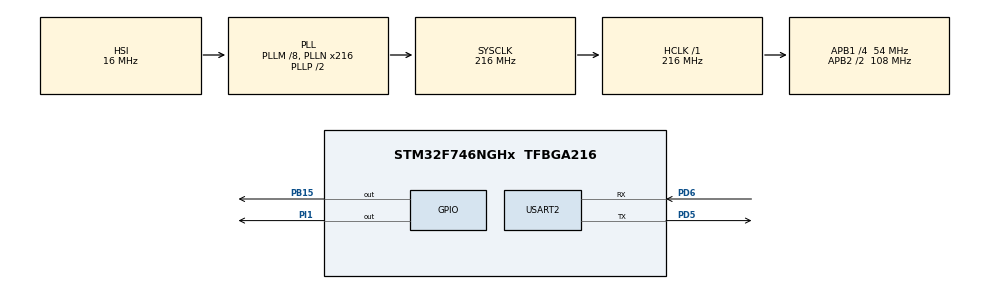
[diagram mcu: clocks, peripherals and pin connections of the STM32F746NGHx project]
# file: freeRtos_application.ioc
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FREERTOS.Tasks01=defaultTask,0,128,StartDefaultTask,Default,NULL,Dynamic,NULL,NULL;Task2,0,128,Task2_init,Default,NULL,Dynamic,NULL,NULL
Mcu.Family=STM32F7
Mcu.Name=STM32F746NGHx
Mcu.Package=TFBGA216
NVIC.PriorityGroup=NVIC_PRIORITYGROUP_4
NVIC.TIM1_UP_TIM10_IRQn=true\:15\:0\:false\:false\:true\:false\:false\:true
NVIC.TimeBase=TIM1_UP_TIM10_IRQn
NVIC.TimeBaseIP=TIM1
PA0/WKUP.Mode=SYS_WakeUp0
PA0/WKUP.Signal=SYS_WKUP1
PA13.Mode=Serial_Wire
PA13.Signal=SYS_JTMS-SWDIO
PA14.Mode=Serial_Wire
PA14.Signal=SYS_JTCK-SWCLK
PB15.Signal=GPIO_Output
PD5.Mode=Asynchronous
PD5.Signal=USART2_TX
PD6.Mode=Asynchronous
PD6.Signal=USART2_RX
PI1.Signal=GPIO_Output
ProjectManager.HeapSize=0x200
ProjectManager.StackSize=0x400
ProjectManager.TargetToolchain=STM32CubeIDE
RCC.AHBFreq_Value=216000000
RCC.APB1CLKDivider=RCC_HCLK_DIV4
RCC.APB1Freq_Value=54000000
RCC.APB1TimFreq_Value=108000000
RCC.APB2CLKDivider=RCC_HCLK_DIV2
RCC.APB2Freq_Value=108000000
RCC.APB2TimFreq_Value=216000000
RCC.CortexFreq_Value=216000000
RCC.HCLKFreq_Value=216000000
RCC.HSE_VALUE=25000000
RCC.HSI_VALUE=16000000
RCC.PLL48CLockSelection=RCC_CLK48SOURCE_PLLSAIP
RCC.PLLI2SN=100
RCC.PLLM=8
RCC.PLLN=216
RCC.PLLQ=9
RCC.PLLSAIN=384
RCC.PLLSAIP=RCC_PLLSAIP_DIV8
RCC.PLLSAIR=5
RCC.PLLSAIRDiv=RCC_PLLSAIDIVR_8
RCC.SDMMCClockSelection=RCC_SDMMC1CLKSOURCE_CLK48
RCC.SYSCLKFreq_VALUE=216000000
RCC.SYSCLKSource=RCC_SYSCLKSOURCE_PLLCLK
RCC.USBFreq_Value=96000000
RCC.VCOOutputFreq_Value=432000000
USART2.VirtualMode-Asynchronous=VM_ASYNC
VP_FREERTOS_VS_CMSIS_V1.Mode=CMSIS_V1
VP_SYS_VS_tim1.Mode=TIM1
board=STM32F746G-DISCO

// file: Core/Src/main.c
/* USER CODE BEGIN Header */
/**
  ******************************************************************************
  * @file           : main.c
  * @brief          : Main program body
  ******************************************************************************
  * @attention
  *
  * Copyright (c) 2022 STMicroelectronics.
  * All rights reserved.
  *
  * This software is licensed under terms that can be found in the LICENSE file
  * in the root directory of this software component.
  * If no LICENSE file comes with this software, it is provided AS-IS.
  *
  ******************************************************************************
  */
/* USER CODE END Header */
#include "main.h"
#include "cmsis_os.h"

UART_HandleTypeDef huart2;

osThreadId defaultTaskHandle;
osThreadId Task2Handle;

void SystemClock_Config(void);
static void MX_GPIO_Init(void);
static void MX_USART2_UART_Init(void);
void StartDefaultTask(void const * argument);
void Task2_init(void const * argument);

/* USER CODE BEGIN 0 */
int _write(int file, char *ptr, int len){
	HAL_UART_Transmit(&huart2, (uint8_t *)ptr, len, HAL_MAX_DELAY);
	return len;
void transmit_def (void)
{
	uint8_t data[] = "Hello DEFTASK\n";
	HAL_UART_Transmit(&huart2, data, 14, 1000);
}

void transmit_task2 (void)
{
	uint8_t data[] = "Hello TASK2\n";
	HAL_UART_Transmit(&huart2, data, 12, 1000);
}

void transmit_task3 (void)
{
	uint8_t data[] = "Hello TASK3\n";
	HAL_UART_Transmit(&huart2, data, 12, 1000);
}
/* USER CODE END 0 */

int main(void)
{

  /* MCU Configuration--------------------------------------------------------*/

  /* Reset of all peripherals, Initializes the Flash interface and the Systick. */
  HAL_Init();

  /* Configure the system clock */
  SystemClock_Config();

  /* Initialize all configured peripherals */
  MX_GPIO_Init();
  MX_USART2_UART_Init();

  /* Create the thread(s) */
  /* definition and creation of defaultTask */
  osThreadDef(defaultTask, StartDefaultTask, osPriorityNormal, 0, 128);
  defaultTaskHandle = osThreadCreate(osThread(defaultTask), NULL);

  /* definition and creation of Task2 */
  osThreadDef(Task2, Task2_init, osPriorityNormal, 0, 128);
  Task2Handle = osThreadCreate(osThread(Task2), NULL);

  /* Start scheduler */
  osKernelStart();

  /* We should never get here as control is now taken by the scheduler */
  /* Infinite loop */
  while (1)
  {

  }
}

void SystemClock_Config(void)
{
  RCC_OscInitTypeDef RCC_OscInitStruct = {0};
  RCC_ClkInitTypeDef RCC_ClkInitStruct = {0};

  /** Configure the main internal regulator output voltage
  */
  __HAL_RCC_PWR_CLK_ENABLE();
  __HAL_PWR_VOLTAGESCALING_CONFIG(PWR_REGULATOR_VOLTAGE_SCALE1);
  /** Initializes the RCC Oscillators according to the specified parameters
  * in the RCC_OscInitTypeDef structure.
  */
  RCC_OscInitStruct.OscillatorType = RCC_OSCILLATORTYPE_HSI;
  RCC_OscInitStruct.HSIState = RCC_HSI_ON;
  RCC_OscInitStruct.HSICalibrationValue = RCC_HSICALIBRATION_DEFAULT;
  RCC_OscInitStruct.PLL.PLLState = RCC_PLL_ON;
  RCC_OscInitStruct.PLL.PLLSource = RCC_PLLSOURCE_HSI;
  RCC_OscInitStruct.PLL.PLLM = 8;
  RCC_OscInitStruct.PLL.PLLN = 216;
  RCC_OscInitStruct.PLL.PLLP = RCC_PLLP_DIV2;
  RCC_OscInitStruct.PLL.PLLQ = 9;
  if (HAL_RCC_OscConfig(&RCC_OscInitStruct) != HAL_OK)
  {
    Error_Handler();
  }
  /** Activate the Over-Drive mode
  */
  if (HAL_PWREx_EnableOverDrive() != HAL_OK)
  {
    Error_Handler();
  }
  /** Initializes the CPU, AHB and APB buses clocks
  */
  RCC_ClkInitStruct.ClockType = RCC_CLOCKTYPE_HCLK|RCC_CLOCKTYPE_SYSCLK
                              |RCC_CLOCKTYPE_PCLK1|RCC_CLOCKTYPE_PCLK2;
  RCC_ClkInitStruct.SYSCLKSource = RCC_SYSCLKSOURCE_PLLCLK;
  RCC_ClkInitStruct.AHBCLKDivider = RCC_SYSCLK_DIV1;
  RCC_ClkInitStruct.APB1CLKDivider = RCC_HCLK_DIV4;
  RCC_ClkInitStruct.APB2CLKDivider = RCC_HCLK_DIV2;

  if (HAL_RCC_ClockConfig(&RCC_ClkInitStruct, FLASH_LATENCY_7) != HAL_OK)
  {
    Error_Handler();
  }
}

static void MX_USART2_UART_Init(void)
{

  huart2.Instance = USART2;
  huart2.Init.BaudRate = 115200;
  huart2.Init.WordLength = UART_WORDLENGTH_8B;
  huart2.Init.StopBits = UART_STOPBITS_1;
  huart2.Init.Parity = UART_PARITY_NONE;
  huart2.Init.Mode = UART_MODE_TX_RX;
  huart2.Init.HwFlowCtl = UART_HWCONTROL_NONE;
  huart2.Init.OverSampling = UART_OVERSAMPLING_16;
  huart2.Init.OneBitSampling = UART_ONE_BIT_SAMPLE_DISABLE;
  huart2.AdvancedInit.AdvFeatureInit = UART_ADVFEATURE_NO_INIT;
  if (HAL_UART_Init(&huart2) != HAL_OK)
  {
    Error_Handler();
  }

}

static void MX_GPIO_Init(void)
{
  GPIO_InitTypeDef GPIO_InitStruct = {0};

  /* GPIO Ports Clock Enable */
  __HAL_RCC_GPIOA_CLK_ENABLE();
  __HAL_RCC_GPIOD_CLK_ENABLE();
  __HAL_RCC_GPIOI_CLK_ENABLE();
  __HAL_RCC_GPIOB_CLK_ENABLE();

  /*Configure GPIO pin Output Level */
  HAL_GPIO_WritePin(GPIOI, GPIO_PIN_1, GPIO_PIN_RESET);

  /*Configure GPIO pin Output Level */
  HAL_GPIO_WritePin(GPIOB, GPIO_PIN_15, GPIO_PIN_RESET);

  /*Configure GPIO pin : PI1 */
  GPIO_InitStruct.Pin = GPIO_PIN_1;
  GPIO_InitStruct.Mode = GPIO_MODE_OUTPUT_PP;
  GPIO_InitStruct.Pull = GPIO_NOPULL;
  GPIO_InitStruct.Speed = GPIO_SPEED_FREQ_LOW;
  HAL_GPIO_Init(GPIOI, &GPIO_InitStruct);

  /*Configure GPIO pin : PB15 */
  GPIO_InitStruct.Pin = GPIO_PIN_15;
  GPIO_InitStruct.Mode = GPIO_MODE_OUTPUT_PP;
  GPIO_InitStruct.Pull = GPIO_NOPULL;
  GPIO_InitStruct.Speed = GPIO_SPEED_FREQ_LOW;
  HAL_GPIO_Init(GPIOB, &GPIO_InitStruct);

}

void StartDefaultTask(void const * argument)
{
  /* USER CODE BEGIN 5 */
 	    /* Infinite loop */
 	    for(;;)
 	    {
 	        HAL_GPIO_TogglePin(GPIOI, GPIO_PIN_1);
 	 	    transmit_def();

 	        osDelay(1000);
 	    }
  /* USER CODE END 5 */
}

void Task2_init(void const * argument)
{
  /* USER CODE BEGIN Task2_init */
  /* Infinite loop */
 for(;;)
  {
	  HAL_GPIO_TogglePin(GPIOB, GPIO_PIN_15);
	  transmit_task2();
       osDelay(1000);

  }
  /* USER CODE END Task2_init */
}

void HAL_TIM_PeriodElapsedCallback(TIM_HandleTypeDef *htim)
{
  if (htim->Instance == TIM1) {
    HAL_IncTick();
  }
}

void Error_Handler(void)
{
  __disable_irq();
  while (1)
  {
  }
}
